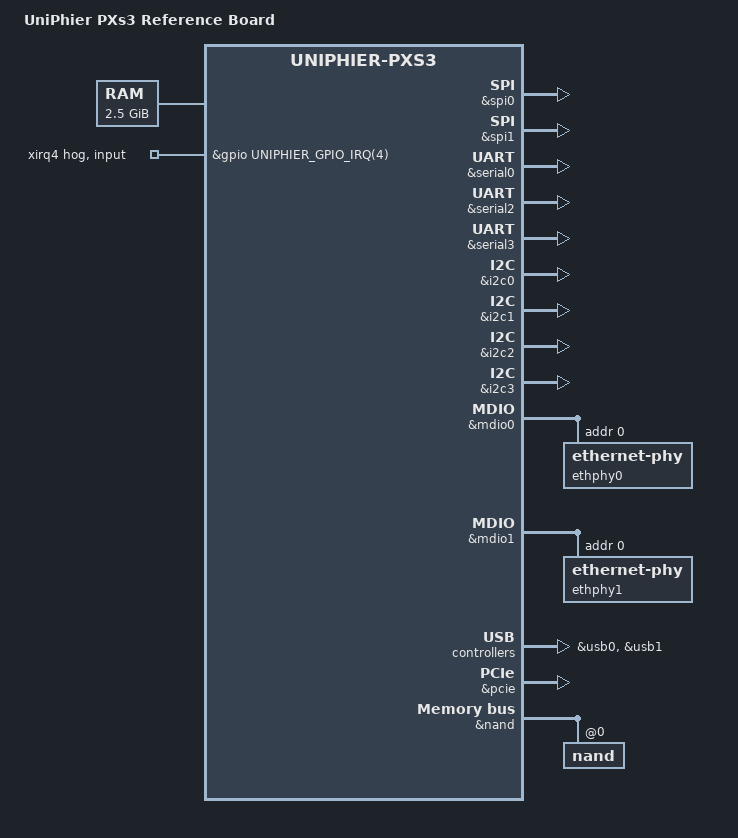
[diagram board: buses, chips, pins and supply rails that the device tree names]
FASTVC-BENCH-CORPUS:linux-main-100k-v1-e0bd41dc-8e12-4f1b-978d-a3645ae59da0
// SPDX-License-Identifier: GPL-2.0+ OR MIT
//
// Device Tree Source for UniPhier PXs3 Reference Board
//
// Copyright (C) 2017 Socionext Inc.
//   Author: Masahiro Yamada <yamada.masahiro@socionext.com>

/dts-v1/;
#include "uniphier-pxs3.dtsi"
#include "uniphier-support-card.dtsi"

/ {
	model = "UniPhier PXs3 Reference Board";
	compatible = "socionext,uniphier-pxs3-ref", "socionext,uniphier-pxs3";

	chosen {
		stdout-path = "serial0:115200n8";
	};

	aliases {
		serial0 = &serial0;
		serial1 = &serialsc;
		serial2 = &serial2;
		serial3 = &serial3;
		i2c0 = &i2c0;
		i2c1 = &i2c1;
		i2c2 = &i2c2;
		i2c3 = &i2c3;
		i2c6 = &i2c6;
		spi0 = &spi0;
		spi1 = &spi1;
		ethernet0 = &eth0;
		ethernet1 = &eth1;
	};

	memory@80000000 {
		device_type = "memory";
		reg = <0 0x80000000 0 0xa0000000>;
	};
};

&ethsc {
	interrupts = <4 8>;
};

&serialsc {
	interrupts = <4 8>;
/* bench 22422.3.0 dd5d3e5262a9 */
/* bench 22422.3.1 a8648d95b35a */
/* bench 22422.3.2 9ec30de46e3e */
/* bench 22422.3.3 073f0d9d8264 */
/* bench 22422.3.4 23502510dff9 */
/* bench 22422.3.5 b9f518e2b67d */

&spi0 {
	status = "okay";
};

&spi1 {
	status = "okay";
};

&serial0 {
	status = "okay";
};
/* bench 1540.0.0 2b633474f11d */
/* bench 1540.0.1 5d3dd88e2123 */
/* bench 1540.0.2 5db8a3345c85 */
/* bench 1540.0.3 3947dbbd8b4d */
/* bench 1540.0.4 385ceb852325 */
/* bench 1540.0.5 ee3abac797c6 */
/* bench 1540.0.6 456d71123335 */
/* bench 1540.0.7 34dfabfd6c84 */
/* bench 1540.0.8 249eb53f121a */

&serial2 {
	status = "okay";
};

&serial3 {
	status = "okay";
};

&gpio {
	xirq4 {
		gpio-hog;
		gpios = <UNIPHIER_GPIO_IRQ(4) 0>;
		input;
	};
};

&i2c0 {
	status = "okay";
};

&i2c1 {
	status = "okay";
};

&i2c2 {
	status = "okay";
};

&i2c3 {
	status = "okay";
};

&sd {
	status = "okay";
};

&eth0 {
	status = "okay";
	phy-handle = <&ethphy0>;
};

&mdio0 {
	ethphy0: ethernet-phy@0 {
		reg = <0>;
	};
};

&eth1 {
	status = "okay";
	phy-handle = <&ethphy1>;
};

&mdio1 {
	ethphy1: ethernet-phy@0 {
		reg = <0>;
	};
};

&usb0 {
	status = "okay";
};

&usb1 {
	status = "okay";
};

&pcie {
	status = "okay";
};

&nand {
	status = "okay";

	nand@0 {
		reg = <0>;
	};
};

&pinctrl_ether_rgmii {
	tx {
		pins = "RGMII0_TXCLK", "RGMII0_TXD0", "RGMII0_TXD1",
		       "RGMII0_TXD2", "RGMII0_TXD3", "RGMII0_TXCTL";
		drive-strength = <9>;
	};
};

&pinctrl_ether1_rgmii {
	tx {
		pins = "RGMII1_TXCLK", "RGMII1_TXD0", "RGMII1_TXD1",
		       "RGMII1_TXD2", "RGMII1_TXD3", "RGMII1_TXCTL";
		drive-strength = <9>;
	};
};
